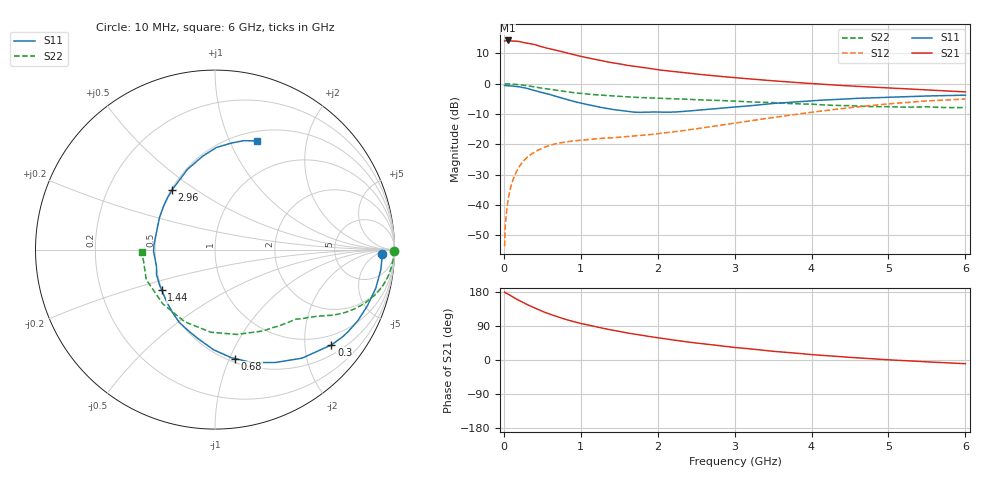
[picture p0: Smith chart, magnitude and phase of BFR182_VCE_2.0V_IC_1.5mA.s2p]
! Infineon Technologies  Discrete & RF Semiconductors
! BFR182
! VCE =  2.0 V,  IC =  1.5 mA
! Common Emitter S-Parameters:  Nov 2015
# GHz  S  MA  R  50
!  f  S11  S21  S12  S22
! GHz  MAG  ANG  MAG  ANG  MAG  ANG  MAG  ANG
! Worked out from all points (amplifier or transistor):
!   210 points, 10 MHz to 6 GHz, reference 50 ohm
!   highest |S21| = 14.3 dB at 50 MHz (marker M1)
!   |S21| within 3 dB of that: start of sweep to 638.6 MHz
!   unconditionally stable (mu >= 1): 1.59 GHz to 3.205 GHz
!   at 185 MHz: K = 0.15, MSG = 21.0 dB, |S12| = -28.0 dB
!   at 1.52 GHz: K = 0.97, MSG = 12.0 dB, |S12| = -17.6 dB
!   at 6 GHz: K = 0.93, MSG = 1.2 dB, |S12| = -5.0 dB
!   S11 on the Smith chart (normalised r, x): 10 MHz: 26, -9; 300 MHz: 0.73, -2.62; 680 MHz: 0.53, -1.05; 1.44 GHz: 0.50, -0.26; 2.96 GHz: 0.51, +0.40; 6 GHz: 0.61, +1.27
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0.01  0.933 -1.4  5.058 179.2  0.0021 90.5  0.9975 -0.6
0.02  0.9317 -2.7  5.074 177.6  0.0047 94.0  0.9878 -1.1
0.05  0.9308 -6.9  5.166 174.3  0.0109 85.6  0.9947 -2.9
0.09  0.9221 -12.2  5.077 170.0  0.0199 82.7  0.9888 -5.1
0.15  0.9051 -20.2  5.044 162.2  0.0326 77.8  0.977 -8.6
0.2  0.8889 -26.5  4.972 157.0  0.0428 74.4  0.9628 -11.1
0.3  0.8386 -39.3  4.676 146.4  0.0609 67.6  0.9278 -15.7
0.4  0.7751 -51.3  4.427 137.3  0.0751 61.8  0.8863 -19.8
0.5  0.7137 -61.8  4.041 128.2  0.0867 56.7  0.8436 -23.1
0.68  0.6177 -79.5  3.563 115.2  0.1025 50.2  0.7801 -27.3
0.88  0.522 -97.2  3.078 102.6  0.1132 45.7  0.7196 -30.8
1.02  0.4729 -108.9  2.795 95.6  0.1176 44.3  0.6869 -32.6
1.2  0.4227 -124.2  2.499 87.2  0.1237 43.2  0.6568 -34.9
1.44  0.373 -142.9  2.186 77.7  0.1294 43.5  0.6267 -37.6
1.7  0.3393 -163.9  1.94 68.2  0.1375 45.9  0.597 -40.4
2.02  0.3403 173.8  1.691 58.1  0.1512 48.9  0.5768 -44.5
2.4  0.3562 150.9  1.486 47.3  0.1728 52.7  0.553 -50.5
2.96  0.4087 125.8  1.273 34.1  0.2197 55.0  0.5193 -61.3
3.1  0.4225 120.9  1.229 31.3  0.234 54.8  0.509 -64.7
4.1  0.5328 95.7  0.988 12.9  0.3507 48.9  0.4517 -96.6
5.1  0.6048 80.1  0.842 -0.5  0.4758 35.6  0.4141 -138.5
6  0.6487 69.0  0.733 -9.8  0.5597 20.5  0.4062 -178.0
